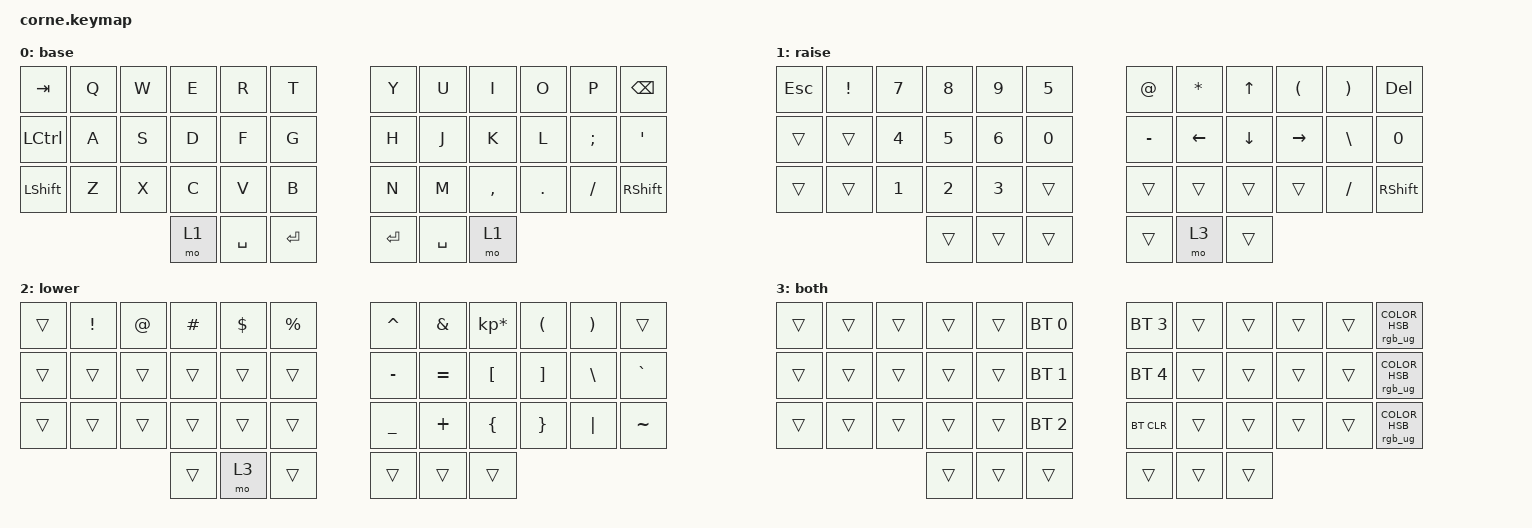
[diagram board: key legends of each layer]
/*
 * Copyright (c) 2020 The ZMK Contributors
 *
 * SPDX-License-Identifier: MIT
 */

#include <behaviors.dtsi>
#include <dt-bindings/zmk/keys.h>
#include <dt-bindings/zmk/bt.h>
#include <dt-bindings/zmk/rgb.h>

// dt-formatter: indent = "  "
// dt-formatter: reindentMultilineIntegerCells = "dedent"

/ {
  behaviors {
    hm: homerow_mods {
      compatible = "zmk,behavior-hold-tap";
      label = "HOMEROW_MODS";
      #binding-cells = <2>;
      tapping-term-ms = <150>;
      quick-tap-ms = <0>;
      flavor = "tap-preferred";
      bindings =
        <&kp>,
        <&kp>;
    };
  };

  combos {
    compatible = "zmk,combos";

    new_combo {
      bindings = <&kp PAGE_UP>;
      key-positions = <2 4>;
    };

    new_combo {
      bindings = <&kp PG_DN>;
      key-positions = <14 16>;
    };
  };

  macros {
    zed_em_kay: zed_em_kay {
      compatible = "zmk,behavior-macro";
      label = "ZM_zed_em_kay";
      #binding-cells = <0>;
      bindings =
        <&macro_press>,
        <&kp LSHFT>,
        <&macro_tap>,
        <&kp Z &kp M &kp K>,
        <&macro_release>,
        <&kp LSHFT>;
    };
  };

  keymap {
    compatible = "zmk,keymap";

    base {
      bindings = <
  &kp TAB  &kp Q  &kp W  &kp E      &kp R       &kp T      &kp Y      &kp U      &kp I    &kp O     &kp P    &kp BACKSPACE
&kp LCTRL  &kp A  &kp S  &kp D      &kp F       &kp G      &kp H      &kp J      &kp K    &kp L  &kp SEMI         &kp APOS
&kp LSHFT  &kp Z  &kp X  &kp C      &kp V       &kp B      &kp N      &kp M  &kp COMMA  &kp DOT  &kp FSLH  &kp RIGHT_SHIFT
                         &mo 1  &kp SPACE  &kp RETURN    &kp RET  &kp SPACE      &mo 1
      >;
    };

    raise {
      bindings = <
&kp ESC  &kp EXCL  &kp NUMBER_7  &kp NUMBER_8  &kp NUMBER_9        &kp N5       &kp AT  &kp ASTRK    &kp UP  &kp LEFT_PARENTHESIS  &kp RIGHT_PARENTHESIS          &kp DEL
 &trans    &trans  &kp NUMBER_4  &kp NUMBER_5  &kp NUMBER_6  &kp NUMBER_0    &kp MINUS   &kp LEFT  &kp DOWN             &kp RIGHT          &kp BACKSLASH            &kp 0
 &trans    &trans  &kp NUMBER_1  &kp NUMBER_2  &kp NUMBER_3        &trans       &trans     &trans    &trans                &trans              &kp SLASH  &kp RIGHT_SHIFT
                                       &trans        &trans        &trans       &trans      &mo 3    &trans
      >;
    };

    lower {
      bindings = <
&trans  &kp EXCL  &kp AT  &kp HASH  &kp DLLR  &kp PRCNT    &kp CARET   &kp AMPS  &kp KP_MULTIPLY  &kp LPAR  &kp RPAR     &trans
&trans    &trans  &trans    &trans    &trans     &trans    &kp MINUS  &kp EQUAL         &kp LBKT  &kp RBKT  &kp BSLH  &kp GRAVE
&trans    &trans  &trans    &trans    &trans     &trans    &kp UNDER   &kp PLUS         &kp LBRC  &kp RBRC  &kp PIPE  &kp TILDE
                            &trans     &mo 3     &trans       &trans     &trans           &trans
      >;
    };

    both {
      bindings = <
&trans  &trans  &trans  &trans  &trans  &bt BT_SEL 0    &bt BT_SEL 3  &trans  &trans  &trans  &trans    &rgb_ug RGB_COLOR_HSB(0,60,50)
&trans  &trans  &trans  &trans  &trans  &bt BT_SEL 1    &bt BT_SEL 4  &trans  &trans  &trans  &trans  &rgb_ug RGB_COLOR_HSB(120,60,50)
&trans  &trans  &trans  &trans  &trans  &bt BT_SEL 2      &bt BT_CLR  &trans  &trans  &trans  &trans  &rgb_ug RGB_COLOR_HSB(240,60,50)
                        &trans  &trans        &trans          &trans  &trans  &trans
      >;
    };
  };
};
